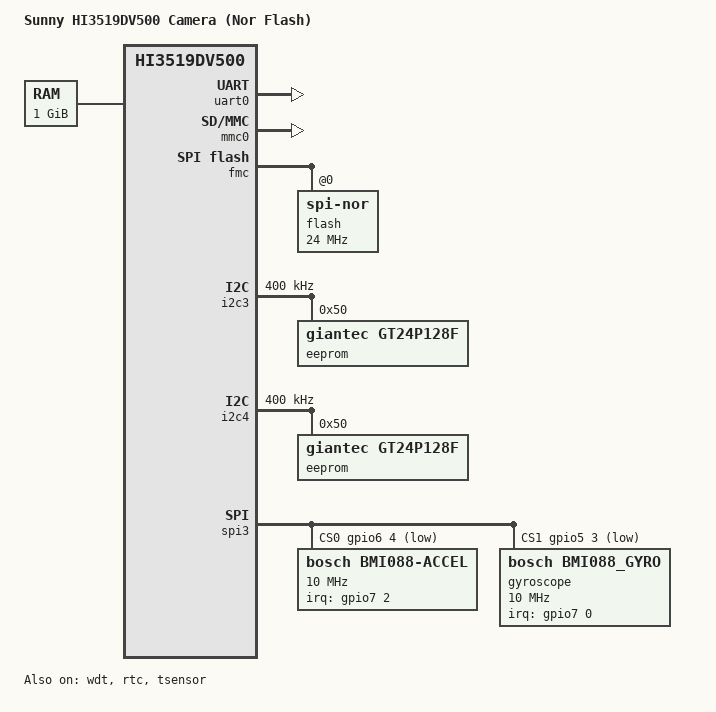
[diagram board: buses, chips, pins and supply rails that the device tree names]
// SPDX-License-Identifier: GPL-2.0-only OR BSD-2-Clause
/*
 * Copyright (c) 2026 Zhejiang Sunny Optical Intelligent Technology Co., Ltd
 */

/dts-v1/;

#include <dt-bindings/gpio/gpio.h>
#include <dt-bindings/pinctrl/pinctrl-hi3519dv500.h>
#include "hi3519dv500.dtsi"

/ {
	model = "Sunny HI3519DV500 Camera (Nor Flash)";
	compatible = "sunny,hi3519dv500-camera-flash", "hisilicon,hi3519dv500";

	aliases {
		serial0 = &uart0;
	};

	chosen {
		stdout-path = "serial0:115200n8";
		bootargs = "earlycon=pl011,0x11040000 console=ttyAMA0,115200";
	};

	memory@40030000 {
		device_type = "memory";
		reg = <0x0 0x40030000 0x0 0x40000000>;
	};
};

&uart0 {
	status = "okay";
};

&mmc0 {
	status = "okay";
};

&fmc {
	status = "okay";

	flash@0 {
		compatible = "jedec,spi-nor";
		reg = <0>;
		spi-max-frequency = <24000000>;
	};
};

&wdt {
	status = "okay";
};

&rtc {
	status = "okay";
};

&tsensor {
	status = "okay";
};

/ {
	thermal-zones {
		cpu-thermal {
			polling-delay = <0>;
			polling-delay-passive = <0>;
			thermal-sensors = <&tsensor 0>;
		};
	};
};

&i2c3 {
	pinctrl-0 = <&i2c3_sda_pins &i2c3_scl_pins>;
	clock-frequency = <400000>;
	status = "okay";

	eeprom@50 {
		compatible = "giantec,gt24p128f", "atmel,24c128";
		reg = <0x50>;
		pagesize = <64>;
		size = <16384>;
	};
};

&i2c4 {
	pinctrl-0 = <&i2c4_sda_pins &i2c4_scl_pins>;
	clock-frequency = <400000>;
	status = "okay";

	eeprom@50 {
		compatible = "giantec,gt24p128f", "atmel,24c128";
		reg = <0x50>;
		pagesize = <64>;
		size = <16384>;
	};
};

&ioconfig2 {
	i2c3_sda_pins: i2c3-sda-pins {
		pinmux = <HI3519DV500_PINMUX(0x28, 2)>;	/* I2C3_SDA */
		bias-pull-up;
		drive-strength = <4>;
		slew-rate = <1>;
	};

	i2c3_scl_pins: i2c3-scl-pins {
		pinmux = <HI3519DV500_PINMUX(0x2c, 2)>;	/* I2C3_SCL */
		bias-pull-up;
		drive-strength = <3>;
		slew-rate = <1>;
	};

	i2c4_sda_pins: i2c4-sda-pins {
		pinmux = <HI3519DV500_PINMUX(0x30, 2)>;	/* I2C4_SDA */
		bias-pull-up;
		drive-strength = <4>;
		slew-rate = <1>;
	};

	i2c4_scl_pins: i2c4-scl-pins {
		pinmux = <HI3519DV500_PINMUX(0x34, 2)>;	/* I2C4_SCL */
		bias-pull-up;
		drive-strength = <4>;
		slew-rate = <1>;
	};
};

&gpio5 {
	status = "okay";
};

&gpio6 {
	status = "okay";
};

&gpio7 {
	status = "okay";
};

&spi3 {
	pinctrl-0 = <&spi3_pins &imu_int_pins>;
	cs-gpios = <&gpio6 4 GPIO_ACTIVE_LOW>, <&gpio5 3 GPIO_ACTIVE_LOW>;
	status = "okay";

	bmi088-accel@0 {
		compatible = "bosch,bmi088-accel";
		reg = <0>;
		spi-max-frequency = <10000000>;
		interrupt-parent = <&gpio7>;
		interrupts = <2 IRQ_TYPE_EDGE_RISING>;
		interrupt-names = "INT2";
	};

	gyroscope@1 {
		compatible = "bosch,bmi088_gyro";
		reg = <1>;
		spi-max-frequency = <10000000>;
		interrupt-parent = <&gpio7>;
		interrupts = <0 IRQ_TYPE_EDGE_RISING>;
	};
};

&ioconfig1 {
	spi3_pins: spi3-pins {
		pinmux = <HI3519DV500_PINMUX(0x88, 3)>,	/* SPI3_SCLK */
			 <HI3519DV500_PINMUX(0x7c, 3)>,	/* SPI3_SDI */
			 <HI3519DV500_PINMUX(0x98, 3)>,	/* SPI3_SDO */
			 <HI3519DV500_PINMUX(0x78, 1)>,	/* GPIO5_3, gyro CS */
			 <HI3519DV500_PINMUX(0x9c, 1)>;	/* GPIO6_4, accel CS */
	};

	imu_int_pins: imu-int-pins {
		pinmux = <HI3519DV500_PINMUX(0xac, 0)>,	/* GPIO7_0, gyro INT */
			 <HI3519DV500_PINMUX(0xb4, 0)>;	/* GPIO7_2, accel INT */
	};
};
